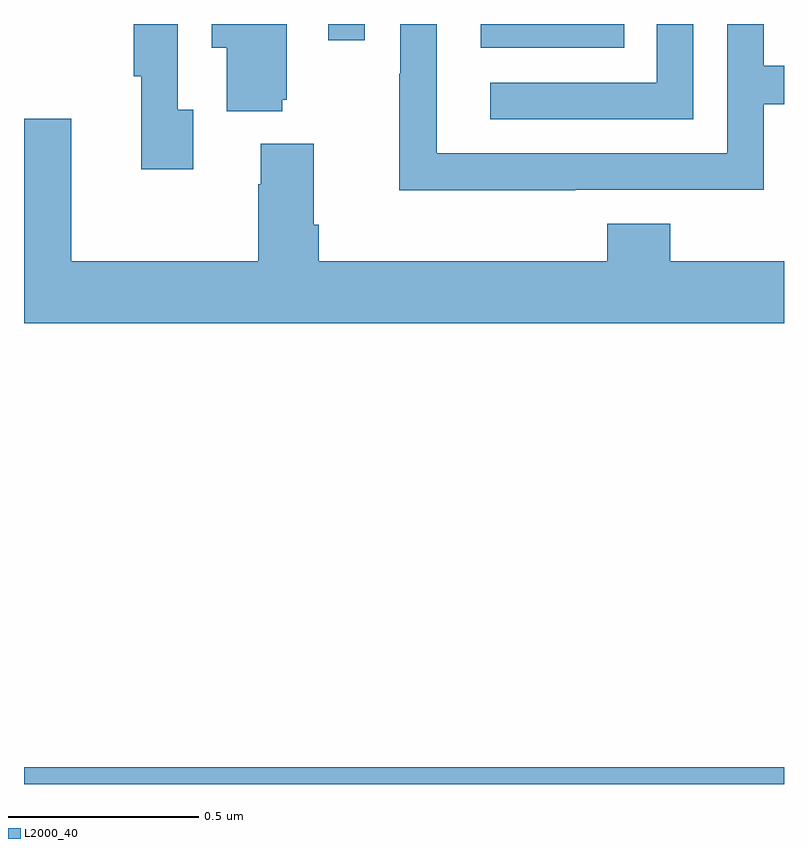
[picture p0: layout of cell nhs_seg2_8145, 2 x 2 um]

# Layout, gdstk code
import gdstk
lib = gdstk.Library(unit=1e-6, precision=1e-09)
def R(c, l, rs):  # rectangles x0, y0, x1, y1
    for r in rs: c.add(gdstk.rectangle(r[:2], r[2:], *l))
def P(c, l, *ps):  # polygons
    for p in ps: c.add(gdstk.Polygon(p, *l))
L2000_40 = (2000, 40)

nhs_seg2_8145 = lib.new_cell('nhs_seg2_8145')
R(nhs_seg2_8145, L2000_40, [(213,603.8,215,603.844), (214.202,605.738,214.58,605.8), (213.801,605.757,213.897,605.8)])
P(nhs_seg2_8145, L2000_40, [(214.451,605.364),(214.947,605.364),(214.947,605.589),(215,605.589),(215,605.69),(214.947,605.69),(214.947,605.8),(214.851,605.8),(214.851,605.46),(214.086,605.46),(214.086,605.8),(213.99,605.8),(213.99,605.669),(213.988,605.669),(213.988,605.363),(214.451,605.363)],
  [(214.761,605.8),(214.665,605.8),(214.665,605.646),(214.227,605.646),(214.227,605.55),(214.761,605.55)],
  [(213.445,605.574),(213.405,605.574),(213.405,605.8),(213.289,605.8),(213.289,605.662),(213.308,605.662),(213.308,605.418),(213.445,605.418)],
  [(213.68,605.601),(213.691,605.601),(213.691,605.8),(213.494,605.8),(213.494,605.738),(213.533,605.738),(213.533,605.57),(213.68,605.57)],
  [(215,605.176),(214.7,605.176),(214.7,605.275),(214.535,605.275),(214.535,605.176),(213.776,605.176),(213.776,605.272),(213.763,605.272),(213.763,605.485),(213.623,605.485),(213.623,605.378),(213.616,605.378),(213.616,605.176),(213.124,605.176),(213.124,605.551),(213,605.551),(213,605.012),(215,605.012)])

lib.write_gds('nhs_seg2_8145.gds')
